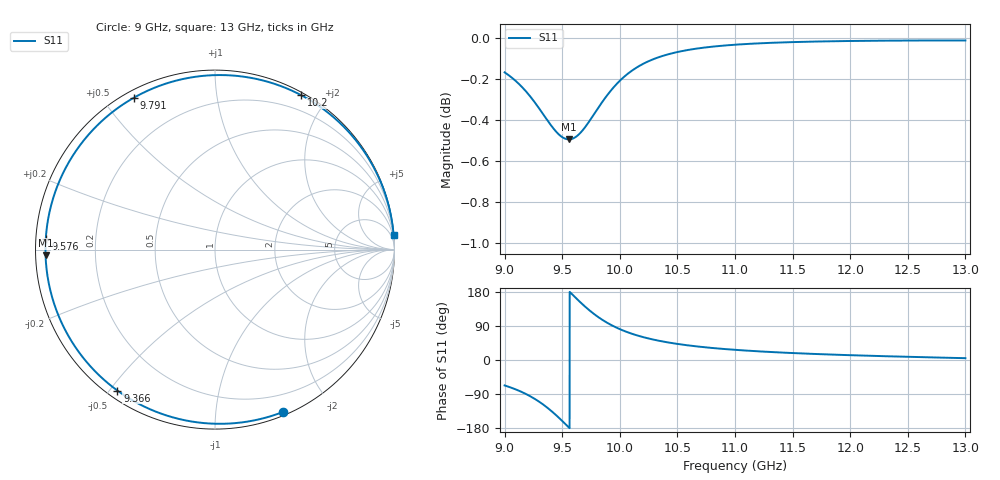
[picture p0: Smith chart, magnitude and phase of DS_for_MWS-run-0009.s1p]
! TOUCHSTONE file generated by CST DESIGN STUDIO
! Date and time: Wed Feb  5 13:37:27 2025
! Project name: C:\Work\MatlabApps\UnitCellOptimizationMatlab\CST\unitcell.cst
! Tree item: Tasks\Sweep1\SPara1\S-Parameters
! Header version: 2024
! Port assignment regex: !\s*Touchstone port\s*([0-9]+)\s*=\s*(CST MWS port|CST DES external port|CST DES block port)\s*(.+)\s* \(\"(.*)\"\)(\s*mode\s*([0-9]+))?.*
! Touchstone port assignment:
! Touchstone port 1 = CST DES external port 1 ("")
# GHz S MA R 50
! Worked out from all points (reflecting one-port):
!   4001 points, 9 GHz to 13 GHz, reference 50 ohm
!   lowest |S11| = -0.5 dB at 9.558 GHz (marker M1), VSWR 35.12, Z = 1.42 - j0.824 ohm
!   phase of S11 starts at -67 deg and turns -288 deg over the sweep
!   S11 on the Smith chart (normalised r, x): 9 GHz: 0.03, -1.51; 9.366 GHz: 0.03, -0.52; 9.576 GHz: 0.03, +0.03; 9.791 GHz: 0.03, +0.60; 10.2 GHz: 0.03, +1.71; 13 GHz: 0, +24
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9  0.9807 -67.1
9.041  0.9789 -71.3
9.107  0.9754 -78.9
9.219  0.9679 -95.1
9.297  0.9614 -109.5
9.366  0.9552 -124.7
9.431  0.9499 -141.2
9.5  0.9458 -160.7
9.558  0.9446 -178.1
9.576  0.9447 176.4
9.631  0.9465 160.0
9.691  0.9505 143.0
9.741  0.9548 129.9
9.791  0.9594 118.0
9.836  0.9636 108.5
9.885  0.9678 99.2
9.939  0.972 90.2
10  0.9761 81.5
10.095  0.9812 70.3
10.198  0.9853 60.8
10.336  0.989 51.0
10.5  0.9919 42.4
10.721  0.9943 34.1
11  0.996 26.8
11.5  0.9975 18.3
12  0.9981 12.7
12.5  0.9984 8.4
13  0.9984 4.8
